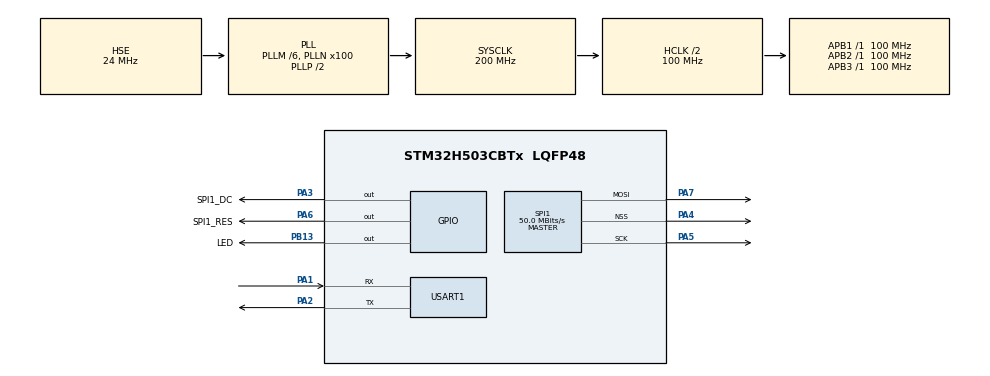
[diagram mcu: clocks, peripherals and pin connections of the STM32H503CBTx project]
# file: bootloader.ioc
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BOOTPATH.BootPathName=LEGACY
BOOTPATH.UserSelectedBootPath=LEGACY
GPDMA1.DESTINC_GPDMACH0=DMA_DINC_FIXED
GPDMA1.DESTINC_GPDMACH1=DMA_DINC_FIXED
GPDMA1.DESTINC_GPDMACH2=DMA_DINC_INCREMENTED
GPDMA1.DIRECTION_GPDMACH0=DMA_MEMORY_TO_PERIPH
GPDMA1.DIRECTION_GPDMACH1=DMA_MEMORY_TO_PERIPH
GPDMA1.IPHANDLE_GPDMACH0-SIMPLEREQUEST_GPDMACH0=__NULL
GPDMA1.IPHANDLE_GPDMACH1-SIMPLEREQUEST_GPDMACH1=__NULL
GPDMA1.IPHANDLE_GPDMACH2-SIMPLEREQUEST_GPDMACH2=__NULL
GPDMA1.PRIORITY_GPDMACH0=DMA_HIGH_PRIORITY
GPDMA1.PRIORITY_GPDMACH1=DMA_LOW_PRIORITY_HIGH_WEIGHT
GPDMA1.PRIORITY_GPDMACH2=DMA_LOW_PRIORITY_HIGH_WEIGHT
GPDMA1.REQUEST_GPDMACH0=GPDMA1_REQUEST_SPI1_TX
GPDMA1.REQUEST_GPDMACH1=GPDMA1_REQUEST_USART1_TX
GPDMA1.REQUEST_GPDMACH2=GPDMA1_REQUEST_USART1_RX
GPDMA1.SRCBURSTLENGTH_GPDMACH0=1
GPDMA1.SRCINC_GPDMACH0=DMA_SINC_INCREMENTED
GPDMA1.SRCINC_GPDMACH1=DMA_SINC_INCREMENTED
GPDMA1.SRCINC_GPDMACH2=DMA_SINC_FIXED
Mcu.Family=STM32H5
Mcu.Name=STM32H503CBTx
Mcu.Package=LQFP48
NVIC.GPDMA1_Channel0_IRQn=true\:0\:0\:false\:false\:true\:false\:true\:true
NVIC.GPDMA1_Channel1_IRQn=true\:0\:0\:false\:false\:true\:false\:true\:true
NVIC.GPDMA1_Channel2_IRQn=true\:0\:0\:false\:false\:true\:false\:true\:true
NVIC.PriorityGroup=NVIC_PRIORITYGROUP_4
NVIC.SPI1_IRQn=true\:0\:0\:false\:false\:true\:true\:true\:true
NVIC.USART1_IRQn=true\:0\:0\:false\:false\:true\:true\:true\:true
PA1.Mode=Asynchronous
PA1.Signal=USART1_RX
PA13(JTMS/SWDIO).Mode=Serial_Wire
PA13(JTMS/SWDIO).Signal=DEBUG_JTMS-SWDIO
PA14(JTCK/SWCLK).Mode=Serial_Wire
PA14(JTCK/SWCLK).Signal=DEBUG_JTCK-SWCLK
PA2.Mode=Asynchronous
PA2.Signal=USART1_TX
PA3.GPIO_Label=SPI1_DC
PA3.Signal=GPIO_Output
PA4.Mode=NSS_Signal_Hard_Output
PA4.Signal=SPI1_NSS
PA5.Mode=TX_Only_Simplex_Unidirect_Master
PA5.Signal=SPI1_SCK
PA6.GPIO_Label=SPI1_RES
PA6.Signal=GPIO_Output
PA7.Mode=TX_Only_Simplex_Unidirect_Master
PA7.Signal=SPI1_MOSI
PB13.GPIO_Label=LED
PB13.Signal=GPIO_Output
PH0-OSC_IN(PH0).Mode=HSE-External-Oscillator
PH0-OSC_IN(PH0).Signal=RCC_OSC_IN
PH1-OSC_OUT(PH1).Mode=HSE-External-Oscillator
PH1-OSC_OUT(PH1).Signal=RCC_OSC_OUT
ProjectManager.HeapSize=0x200
ProjectManager.StackSize=0x400
ProjectManager.TargetToolchain=STM32CubeIDE
RCC.ADCFreq_Value=100000000
RCC.AHBCLKDivider=RCC_SYSCLK_DIV2
RCC.AHBFreq_Value=100000000
RCC.APB1Freq_Value=100000000
RCC.APB1TimFreq_Value=100000000
RCC.APB2Freq_Value=100000000
RCC.APB2TimFreq_Value=100000000
RCC.APB3Freq_Value=100000000
RCC.CSI_VALUE=4000000
RCC.CortexFreq_Value=100000000
RCC.EPOD_VALUE=24000000
RCC.HCLKFreq_Value=100000000
RCC.HSE_VALUE=24000000
RCC.HSI48_VALUE=48000000
RCC.HSI_VALUE=64000000
RCC.LSE_VALUE=32768
RCC.LSIRC_VALUE=32000
RCC.PLL1Q=4
RCC.PLL2FRACN=0
RCC.PLL2M=6
RCC.PLL2N=36
RCC.PLL2P=5
RCC.PLL2Source=RCC_PLL2_SOURCE_HSE
RCC.PLLFRACN=0
RCC.PLLM=6
RCC.PLLN=100
RCC.PLLSourceVirtual=RCC_PLL1_SOURCE_HSE
RCC.SYSCLKFreq_VALUE=200000000
RCC.SYSCLKSource=RCC_SYSCLKSOURCE_PLLCLK
RCC.USART1CLockSelection=RCC_USART1CLKSOURCE_PLL2Q
RCC.USBFreq_Value=48000000
RCC.VCOOutputFreq_Value=400000000
SPI1.CalculateBaudRate=50.0 MBits/s
SPI1.DataSize=SPI_DATASIZE_8BIT
SPI1.Direction=SPI_DIRECTION_2LINES_TXONLY
SPI1.FifoThreshold=SPI_FIFO_THRESHOLD_04DATA
SPI1.Mode=SPI_MODE_MASTER
SPI1.NSSPMode=SPI_NSS_PULSE_DISABLE
SPI1.VirtualNSS=VM_NSSHARD
SPI1.VirtualType=VM_MASTER
USART1.FIFOMode=FIFOMODE_ENABLE
USART1.RXFIFOThreshold=RXFIFO_THRESHOLD_HALFFULL
USART1.TXFIFOThreshold=TXFIFO_THRESHOLD_HALFFULL
USART1.VirtualMode-Asynchronous=VM_ASYNC
VP_BOOTPATH_VS_BOOTPATH.Mode=BP_Activate
VP_CORTEX_M33_NS_VS_Hclk.Mode=Hclk_Mode
VP_GPDMA1_VS_GPDMACH0.Mode=SIMPLEREQUEST_GPDMACH0
VP_GPDMA1_VS_GPDMACH1.Mode=SIMPLEREQUEST_GPDMACH1
VP_GPDMA1_VS_GPDMACH2.Mode=SIMPLEREQUEST_GPDMACH2
VP_MEMORYMAP_VS_MEMORYMAP.Mode=CurAppReg
VP_PWR_VS_LPOM.Mode=PowerOptimisation
VP_PWR_VS_SECSignals.Mode=Security/Privilege
board=custom

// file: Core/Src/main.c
/* USER CODE BEGIN Header */
/**
  ******************************************************************************
  * @file           : main.c
  * @brief          : Main program body
  ******************************************************************************
  * @attention
  *
  * Copyright (c) 2026 STMicroelectronics.
  * All rights reserved.
  *
  * This software is licensed under terms that can be found in the LICENSE file
  * in the root directory of this software component.
  * If no LICENSE file comes with this, it is provided AS-IS.
  *
  ******************************************************************************
  */
/* USER CODE END Header */
#include "main.h"
#include "gpdma.h"
#include "spi.h"
#include "usart.h"
#include "gpio.h"

/* USER CODE BEGIN Includes */
#include "common.h"
#include "iap.h"
#include "iap_image.h"
#include <stdio.h>
#include <string.h>
#include "lcd_init.h"
#include "lcd.h"
/* USER CODE END Includes */

void SystemClock_Config(void);

/* USER CODE BEGIN 0 */
/* app_upgrade_start() and app_upgrade_progress_tick() are defined in
 * HARDWARE/LCD/Src/lcd_boot.c and declared in HARDWARE/LCD/Inc/lcd.h  */
/* USER CODE END 0 */

int main(void)
{

  /* USER CODE BEGIN 1 */
  /* Set vector table base address to start of flash */
  /* This ensures interrupts work correctly in bootloader */
  SCB->VTOR = 0x08000000;
  __DSB();  // Data Synchronization Barrier - ensure memory operations complete
  __ISB();  // Instruction Synchronization Barrier - flush instruction pipeline
  /* USER CODE END 1 */

  /* MCU Configuration--------------------------------------------------------*/

  /* Reset of all peripherals, Initializes the Flash interface and the Systick. */
  HAL_Init();

  /* USER CODE BEGIN Init */
  /* Enable global interrupts */
  __enable_irq();
  /* USER CODE END Init */

  /* Configure the system clock */
  SystemClock_Config();

  /* USER CODE BEGIN SysInit */
  MX_GPIO_Init();

  /* USER CODE END SysInit */

  /* Initialize all configured peripherals */

  /* USER CODE BEGIN 2 */
  /* Initialize IAP (In-Application Programming) module */
  /* Sets up UART and prepares for firmware update or application jump */
  ImageConfig_t config;
  if (Config_Read(&config) == 0 && config.need_upgrade != 1u){
	  IAP_RunApp();
  }

  MX_GPDMA1_Init();
  MX_USART1_UART_Init();

  MX_SPI1_Init();
  IAP_Init();
  LCD_Init();
  LCD_Fill(0, 0, 120, 240, BLACK);
  /* USER CODE END 2 */

  /* Infinite loop */
  /* USER CODE BEGIN WHILE */
  while (1)
  {
      int ret = IAP_Update();

      if (ret == 0) {
          IAP_RunApp();
      }
      /* else: APP valid but < 3 attempts — retry upgrade immediately */
    /* USER CODE END WHILE */

  }
}

void SystemClock_Config(void)
{
  RCC_OscInitTypeDef RCC_OscInitStruct = {0};
  RCC_ClkInitTypeDef RCC_ClkInitStruct = {0};

  /** Configure the main internal regulator output voltage
  */
  __HAL_PWR_VOLTAGESCALING_CONFIG(PWR_REGULATOR_VOLTAGE_SCALE1);

  while(!__HAL_PWR_GET_FLAG(PWR_FLAG_VOSRDY)) {}

  /** Initializes the RCC Oscillators according to the specified parameters
  * in the RCC_OscInitTypeDef structure.
  */
  RCC_OscInitStruct.OscillatorType = RCC_OSCILLATORTYPE_HSE;
  RCC_OscInitStruct.HSEState = RCC_HSE_ON;
  RCC_OscInitStruct.PLL.PLLState = RCC_PLL_ON;
  RCC_OscInitStruct.PLL.PLLSource = RCC_PLL1_SOURCE_HSE;
  RCC_OscInitStruct.PLL.PLLM = 6;
  RCC_OscInitStruct.PLL.PLLN = 100;
  RCC_OscInitStruct.PLL.PLLP = 2;
  RCC_OscInitStruct.PLL.PLLQ = 4;
  RCC_OscInitStruct.PLL.PLLR = 2;
  RCC_OscInitStruct.PLL.PLLRGE = RCC_PLL1_VCIRANGE_2;
  RCC_OscInitStruct.PLL.PLLVCOSEL = RCC_PLL1_VCORANGE_WIDE;
  RCC_OscInitStruct.PLL.PLLFRACN = 0;
  /* Enable PLL1Q output: SPI1 clock source = PLL1Q = HSE/PLLM*PLLN/PLLQ
   * = 24MHz/6*100/4 = 100MHz. Without this, SPI1 gets no valid clock and
   * falls back to a very slow source, making LCD_Init take seconds. */
  if (HAL_RCC_OscConfig(&RCC_OscInitStruct) != HAL_OK)
  {
    Error_Handler();
  }

  /** Initializes the CPU, AHB and APB buses clocks
  */
  RCC_ClkInitStruct.ClockType = RCC_CLOCKTYPE_HCLK|RCC_CLOCKTYPE_SYSCLK
                              |RCC_CLOCKTYPE_PCLK1|RCC_CLOCKTYPE_PCLK2
                              |RCC_CLOCKTYPE_PCLK3;
  RCC_ClkInitStruct.SYSCLKSource = RCC_SYSCLKSOURCE_PLLCLK;
  RCC_ClkInitStruct.AHBCLKDivider = RCC_SYSCLK_DIV2;
  RCC_ClkInitStruct.APB1CLKDivider = RCC_HCLK_DIV1;
  RCC_ClkInitStruct.APB2CLKDivider = RCC_HCLK_DIV1;
  RCC_ClkInitStruct.APB3CLKDivider = RCC_HCLK_DIV1;

  if (HAL_RCC_ClockConfig(&RCC_ClkInitStruct, FLASH_LATENCY_5) != HAL_OK)
  {
    Error_Handler();
  }

  /** Configure the programming delay
  */
  __HAL_FLASH_SET_PROGRAM_DELAY(FLASH_PROGRAMMING_DELAY_2);
}

void Error_Handler(void)
{
  __disable_irq();
  while (1)
  {
  }
}
